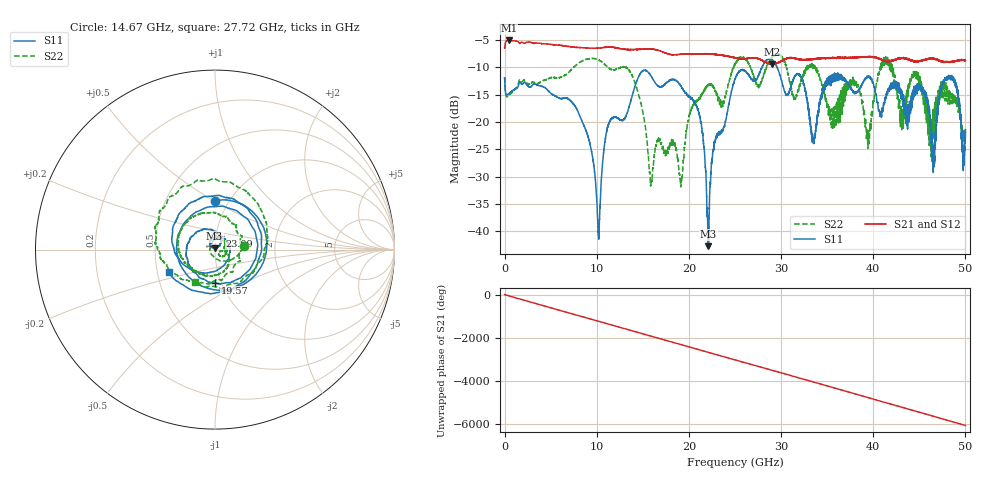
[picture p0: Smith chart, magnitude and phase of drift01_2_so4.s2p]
!Created with skrf (http://scikit-rf.org).
# Hz S RI R 50.0
!freq ReS11 ImS11 ReS21 ImS21 ReS12 ImS12 ReS22 ImS22
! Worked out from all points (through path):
!   10001 points, 300 kHz to 50 GHz, reference 50 ohm
!   highest |S21| = -5.06 dB at 465.3 MHz (marker M1); lowest = -9.4 dB at 29.06 GHz (marker M2)
!   group delay of S21, straight-line fit = 336 ps
!   lowest |S11| = -42.7 dB at 22.09 GHz (marker M3), VSWR 1.01, Z = 49.8 + j0.688 ohm
!   |S11| at or under -10 dB: start of sweep to 27.92 GHz; 27.92982 GHz to 27.93027 GHz (444 kHz wide, 0.00159 % of centre); 29.57 GHz to end of sweep
!   |S22| runs from -31.9 to -7.5 dB; largest |S21 - S12| = 0.013
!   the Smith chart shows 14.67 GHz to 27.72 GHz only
!   S11 on the Smith chart (normalised r, x): 14.67 GHz: 0.86, +0.51; 19.57 GHz: 0.94, -0.36; 23.09 GHz: 1.04, +0.16; 27.72 GHz: 0.58, -0.16
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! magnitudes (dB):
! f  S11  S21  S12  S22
! 300 kHz  -11.9  -6.4  -6.5  -11.8
! 465.3 MHz  -14.8  -5.1  -5.1  -15.1
! 8.335 GHz  -19.6  -6.4  -6.4  -8.9
! 10.19 GHz  -40.6  -6.4  -6.4  -8.6
! 11.23 GHz  -20.7  -6.3  -6.3  -10.0
! 14.67 GHz  -11.3  -6.7  -6.7  -15.8
! 15.86 GHz  -11.5  -6.6  -6.6  -31.5
! 16.67 GHz  -13.4  -6.9  -6.9  -23.1
! 19.57 GHz  -14.6  -7.5  -7.5  -24.1
! 21.2 GHz  -19.0  -7.5  -7.5  -15.7
! 22.09 GHz  -42.7  -7.5  -7.5  -13.2
! 23.09 GHz  -22.0  -7.7  -7.6  -15.0
! 25 GHz  -12.1  -8.3  -8.3  -9.5
! 27.72 GHz  -10.9  -8.5  -8.5  -13.5
! 29.06 GHz  -8.7  -9.4  -9.4  -8.0
! 33.34 GHz  -23.0  -8.6  -8.5  -9.5
! 39.48 GHz  -11.7  -8.0  -8.0  -21.8
! 41.67 GHz  -14.0  -8.9  -8.8  -9.0
! 45.36 GHz  -14.0  -8.7  -8.6  -14.4
! 46.56 GHz  -27.8  -8.4  -8.3  -21.7
! 48.5 GHz  -11.9  -8.9  -9.0  -15.6
! 50 GHz  -21.9  -8.7  -8.7  -23.3
